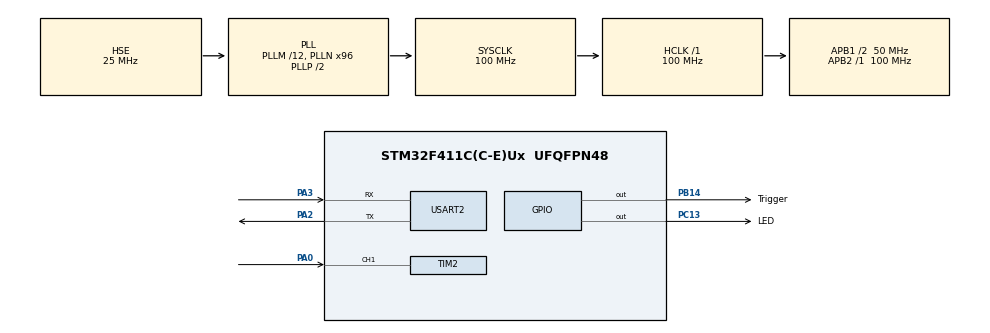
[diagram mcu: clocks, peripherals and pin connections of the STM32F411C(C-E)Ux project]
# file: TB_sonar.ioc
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Mcu.Family=STM32F4
Mcu.Name=STM32F411C(C-E)Ux
Mcu.Package=UFQFPN48
NVIC.PriorityGroup=NVIC_PRIORITYGROUP_4
NVIC.TIM2_IRQn=true\:0\:0\:false\:false\:true\:true\:true\:true
PA0-WKUP.Signal=S_TIM2_CH1_ETR
PA13.Mode=Trace_Asynchronous_SW
PA13.Signal=SYS_JTMS-SWDIO
PA14.Mode=Trace_Asynchronous_SW
PA14.Signal=SYS_JTCK-SWCLK
PA2.Mode=Asynchronous
PA2.Signal=USART2_TX
PA3.Mode=Asynchronous
PA3.Signal=USART2_RX
PB14.GPIO_Label=Trigger
PB14.Signal=GPIO_Output
PB3.Mode=Trace_Asynchronous_SW
PB3.Signal=SYS_JTDO-SWO
PC13-ANTI_TAMP.GPIO_Label=LED
PC13-ANTI_TAMP.Signal=GPIO_Output
PH0\ -\ OSC_IN.Mode=HSE-External-Oscillator
PH0\ -\ OSC_IN.Signal=RCC_OSC_IN
PH1\ -\ OSC_OUT.Mode=HSE-External-Oscillator
PH1\ -\ OSC_OUT.Signal=RCC_OSC_OUT
ProjectManager.HeapSize=0x200
ProjectManager.StackSize=0x400
ProjectManager.TargetToolchain=STM32CubeIDE
RCC.48MHZClocksFreq_Value=50000000
RCC.AHBFreq_Value=100000000
RCC.APB1CLKDivider=RCC_HCLK_DIV2
RCC.APB1Freq_Value=50000000
RCC.APB1TimFreq_Value=100000000
RCC.APB2Freq_Value=100000000
RCC.APB2TimFreq_Value=100000000
RCC.CortexFreq_Value=100000000
RCC.HCLKFreq_Value=100000000
RCC.HSE_VALUE=25000000
RCC.HSI_VALUE=16000000
RCC.LSE_VALUE=32768
RCC.PLLM=12
RCC.PLLN=96
RCC.PLLSourceVirtual=RCC_PLLSOURCE_HSE
RCC.SYSCLKFreq_VALUE=100000000
RCC.SYSCLKSource=RCC_SYSCLKSOURCE_PLLCLK
RCC.VCOOutputFreq_Value=200000000
SH.S_TIM2_CH1_ETR.0=TIM2_CH1,Input_Capture1_from_TI1
TIM2.Channel-Input_Capture1_from_TI1=TIM_CHANNEL_1
TIM2.ICFilter_CH1=4
TIM2.Prescaler=100-1
USART2.VirtualMode=VM_ASYNC
VP_TIM2_VS_ClockSourceINT.Mode=Internal
board=custom

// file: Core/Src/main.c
/* USER CODE BEGIN Header */
/**void TIM2_IRQHandler(void)
  ******************************************************************************
  * @file           : main.c
  * @brief          : Main program body
  ******************************************************************************
  * @attention
  *
  * Copyright (c) 2025 STMicroelectronics.
  * All rights reserved.
  *
  * This software is licensed under terms that can be found in the LICENSE file
  * in the root directory of this software component.
  * If no LICENSE file comes with this software, it is provided AS-IS.
  *
  ******************************************************************************
  */
/* USER CODE END Header */
#include "main.h"

/* USER CODE BEGIN Includes */
#include <stdio.h>
/* USER CODE END Includes */

TIM_HandleTypeDef htim2;

UART_HandleTypeDef huart2;

/* USER CODE BEGIN PV */

sr04_t sr04;

/* USER CODE END PV */

void SystemClock_Config(void);
static void MX_GPIO_Init(void);
static void MX_TIM2_Init(void);
static void MX_USART2_UART_Init(void);

/* USER CODE BEGIN 0 */
int _write(int fd, char* ptr, int len) {
  HAL_StatusTypeDef hstatus;

  if (fd == 1 || fd == 2) {
	hstatus = HAL_UART_Transmit(&huart2, (uint8_t *) ptr, len, HAL_MAX_DELAY);
	if (hstatus == HAL_OK)
	  return len;
	else
	  return -1;
  }
  return -1;
}
/* USER CODE END 0 */

int main(void)
{

  /* MCU Configuration--------------------------------------------------------*/

  /* Reset of all peripherals, Initializes the Flash interface and the Systick. */
  HAL_Init();

  /* Configure the system clock */
  SystemClock_Config();

  /* Initialize all configured peripherals */
  MX_GPIO_Init();
  MX_TIM2_Init();
  MX_USART2_UART_Init();
  /* USER CODE BEGIN 2 */

  sr04.trig_port = GPIOB;
  sr04.trig_pin = GPIO_PIN_14;
  sr04.echo_htim = &htim2;
  sr04.echo_channel = TIM_CHANNEL_1;
  sr04_init(&sr04);

  /* USER CODE END 2 */

  /* Infinite loop */
  /* USER CODE BEGIN WHILE */
  while (1)
   {
     sr04_trigger(&sr04);
     HAL_Delay(100);
     printf("Distance: %lu mm\r\n", sr04.distance);
    /* USER CODE END WHILE */

   }
}

void SystemClock_Config(void)
{
  RCC_OscInitTypeDef RCC_OscInitStruct = {0};
  RCC_ClkInitTypeDef RCC_ClkInitStruct = {0};

  /** Configure the main internal regulator output voltage
  */
  __HAL_RCC_PWR_CLK_ENABLE();
  __HAL_PWR_VOLTAGESCALING_CONFIG(PWR_REGULATOR_VOLTAGE_SCALE1);

  /** Initializes the RCC Oscillators according to the specified parameters
  * in the RCC_OscInitTypeDef structure.
  */
  RCC_OscInitStruct.OscillatorType = RCC_OSCILLATORTYPE_HSE;
  RCC_OscInitStruct.HSEState = RCC_HSE_ON;
  RCC_OscInitStruct.PLL.PLLState = RCC_PLL_ON;
  RCC_OscInitStruct.PLL.PLLSource = RCC_PLLSOURCE_HSE;
  RCC_OscInitStruct.PLL.PLLM = 12;
  RCC_OscInitStruct.PLL.PLLN = 96;
  RCC_OscInitStruct.PLL.PLLP = RCC_PLLP_DIV2;
  RCC_OscInitStruct.PLL.PLLQ = 4;
  if (HAL_RCC_OscConfig(&RCC_OscInitStruct) != HAL_OK)
  {
    Error_Handler();
  }

  /** Initializes the CPU, AHB and APB buses clocks
  */
  RCC_ClkInitStruct.ClockType = RCC_CLOCKTYPE_HCLK|RCC_CLOCKTYPE_SYSCLK
                              |RCC_CLOCKTYPE_PCLK1|RCC_CLOCKTYPE_PCLK2;
  RCC_ClkInitStruct.SYSCLKSource = RCC_SYSCLKSOURCE_PLLCLK;
  RCC_ClkInitStruct.AHBCLKDivider = RCC_SYSCLK_DIV1;
  RCC_ClkInitStruct.APB1CLKDivider = RCC_HCLK_DIV2;
  RCC_ClkInitStruct.APB2CLKDivider = RCC_HCLK_DIV1;

  if (HAL_RCC_ClockConfig(&RCC_ClkInitStruct, FLASH_LATENCY_3) != HAL_OK)
  {
    Error_Handler();
  }
}

static void MX_TIM2_Init(void)
{

  TIM_ClockConfigTypeDef sClockSourceConfig = {0};
  TIM_MasterConfigTypeDef sMasterConfig = {0};
  TIM_IC_InitTypeDef sConfigIC = {0};

  htim2.Instance = TIM2;
  htim2.Init.Prescaler = 100-1;
  htim2.Init.CounterMode = TIM_COUNTERMODE_UP;
  htim2.Init.Period = 4294967295;
  htim2.Init.ClockDivision = TIM_CLOCKDIVISION_DIV1;
  htim2.Init.AutoReloadPreload = TIM_AUTORELOAD_PRELOAD_DISABLE;
  if (HAL_TIM_Base_Init(&htim2) != HAL_OK)
  {
    Error_Handler();
  }
  sClockSourceConfig.ClockSource = TIM_CLOCKSOURCE_INTERNAL;
  if (HAL_TIM_ConfigClockSource(&htim2, &sClockSourceConfig) != HAL_OK)
  {
    Error_Handler();
  }
  if (HAL_TIM_IC_Init(&htim2) != HAL_OK)
  {
    Error_Handler();
  }
  sMasterConfig.MasterOutputTrigger = TIM_TRGO_RESET;
  sMasterConfig.MasterSlaveMode = TIM_MASTERSLAVEMODE_DISABLE;
  if (HAL_TIMEx_MasterConfigSynchronization(&htim2, &sMasterConfig) != HAL_OK)
  {
    Error_Handler();
  }
  sConfigIC.ICPolarity = TIM_INPUTCHANNELPOLARITY_RISING;
  sConfigIC.ICSelection = TIM_ICSELECTION_DIRECTTI;
  sConfigIC.ICPrescaler = TIM_ICPSC_DIV1;
  sConfigIC.ICFilter = 4;
  if (HAL_TIM_IC_ConfigChannel(&htim2, &sConfigIC, TIM_CHANNEL_1) != HAL_OK)
  {
    Error_Handler();
  }

}

static void MX_USART2_UART_Init(void)
{

  huart2.Instance = USART2;
  huart2.Init.BaudRate = 115200;
  huart2.Init.WordLength = UART_WORDLENGTH_8B;
  huart2.Init.StopBits = UART_STOPBITS_1;
  huart2.Init.Parity = UART_PARITY_NONE;
  huart2.Init.Mode = UART_MODE_TX_RX;
  huart2.Init.HwFlowCtl = UART_HWCONTROL_NONE;
  huart2.Init.OverSampling = UART_OVERSAMPLING_16;
  if (HAL_UART_Init(&huart2) != HAL_OK)
  {
    Error_Handler();
  }

}

static void MX_GPIO_Init(void)
{
  GPIO_InitTypeDef GPIO_InitStruct = {0};

  /* GPIO Ports Clock Enable */
  __HAL_RCC_GPIOC_CLK_ENABLE();
  __HAL_RCC_GPIOH_CLK_ENABLE();
  __HAL_RCC_GPIOA_CLK_ENABLE();
  __HAL_RCC_GPIOB_CLK_ENABLE();

  /*Configure GPIO pin Output Level */
  HAL_GPIO_WritePin(LED_GPIO_Port, LED_Pin, GPIO_PIN_RESET);

  /*Configure GPIO pin Output Level */
  HAL_GPIO_WritePin(Trigger_GPIO_Port, Trigger_Pin, GPIO_PIN_RESET);

  /*Configure GPIO pin : LED_Pin */
  GPIO_InitStruct.Pin = LED_Pin;
  GPIO_InitStruct.Mode = GPIO_MODE_OUTPUT_PP;
  GPIO_InitStruct.Pull = GPIO_NOPULL;
  GPIO_InitStruct.Speed = GPIO_SPEED_FREQ_LOW;
  HAL_GPIO_Init(LED_GPIO_Port, &GPIO_InitStruct);

  /*Configure GPIO pin : Trigger_Pin */
  GPIO_InitStruct.Pin = Trigger_Pin;
  GPIO_InitStruct.Mode = GPIO_MODE_OUTPUT_PP;
  GPIO_InitStruct.Pull = GPIO_NOPULL;
  GPIO_InitStruct.Speed = GPIO_SPEED_FREQ_LOW;
  HAL_GPIO_Init(Trigger_GPIO_Port, &GPIO_InitStruct);

}

void Error_Handler(void)
{
  __disable_irq();
  while (1)
  {
  }
}
